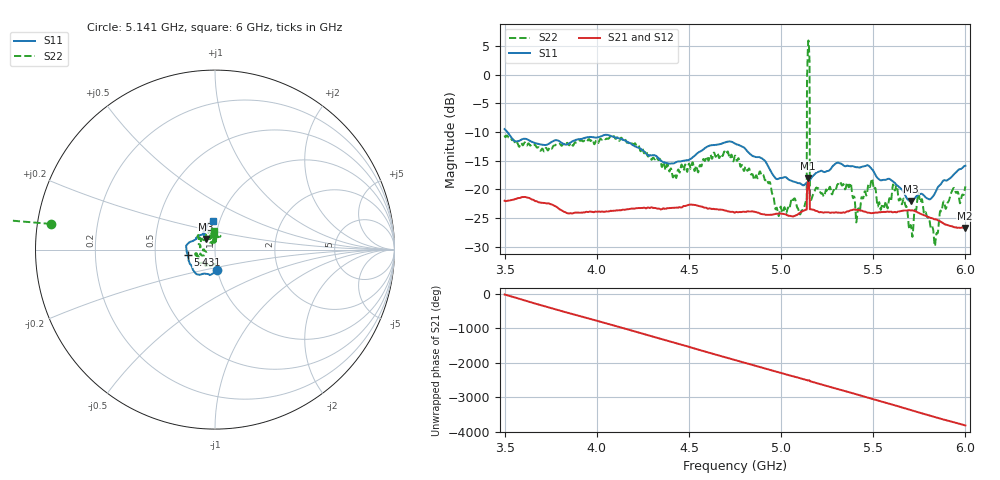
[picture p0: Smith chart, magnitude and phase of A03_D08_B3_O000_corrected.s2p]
! Created with skrf 1.9.0 (http://scikit-rf.org).
# Hz S RI R 50.0
!freq ReS11 ImS11 ReS21 ImS21 ReS12 ImS12 ReS22 ImS22
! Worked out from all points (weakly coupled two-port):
!   1601 points, 3.5 GHz to 6 GHz, reference 50 ohm
!   highest |S21| = -18.04 dB at 5.147 GHz (marker M1); lowest = -26.8 dB at 5.995 GHz (marker M2)
!   lowest |S11| = -22.1 dB at 5.705 GHz (marker M3), VSWR 1.17, Z = 44.7 + j5.32 ohm
!   |S11| at or under -10 dB: 3.515 GHz to end of sweep
!   |S22| runs from -29.9 to 6.0 dB; largest |S21 - S12| = 0.0015
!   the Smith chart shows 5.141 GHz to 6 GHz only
!   S11 on the Smith chart (normalised r, x): 5.141 GHz: 1.00, -0.23; 5.431 GHz: 0.73, -0.04; 6 GHz: 0.93, +0.31
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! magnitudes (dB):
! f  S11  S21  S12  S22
! 3.5 GHz  -9.5  -22.0  -22.0  -10.6
! 3.917 GHz  -11.2  -24.1  -24.1  -11.5
! 4.334 GHz  -14.6  -23.4  -23.3  -14.9
! 4.75 GHz  -12.0  -24.1  -24.0  -14.1
! 4.931 GHz  -16.1  -24.5  -24.4  -19.0
! 4.98 GHz  -18.2  -24.3  -24.3  -23.6
! 5.109 GHz  -19.1  -23.9  -23.9  -23.9
! 5.127 GHz  -19.2  -23.7  -23.7  -23.0
! 5.141 GHz  -18.8  -20.4  -20.3  -0.7
! 5.147 GHz  -18.7  -18.0  -18.1  5.6
! 5.153 GHz  -18.5  -20.2  -20.2  3.5
! 5.167 GHz  -17.9  -23.5  -23.5  -21.5
! 5.431 GHz  -16.2  -23.7  -23.7  -22.6
! 5.486 GHz  -16.3  -24.2  -24.1  -19.1
! 5.584 GHz  -18.2  -23.9  -23.9  -22.0
! 5.619 GHz  -18.9  -24.0  -24.0  -20.2
! 5.705 GHz  -22.1  -23.7  -23.7  -26.4
! 5.753 GHz  -20.8  -24.2  -24.2  -22.0
! 5.841 GHz  -20.3  -25.2  -25.2  -28.1
! 5.875 GHz  -18.7  -25.8  -25.8  -23.1
! 5.995 GHz  -15.9  -26.8  -26.7  -20.2
! 6 GHz  -15.9  -26.7  -26.7  -19.5
